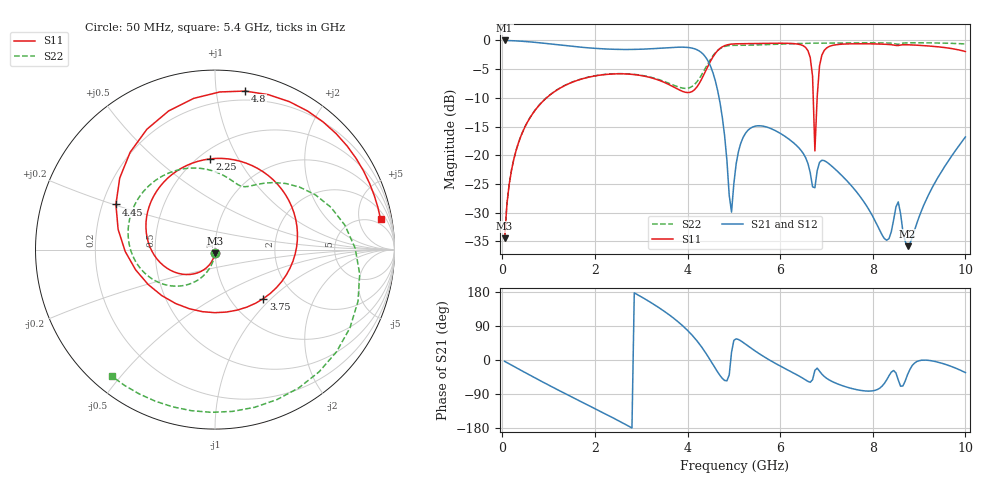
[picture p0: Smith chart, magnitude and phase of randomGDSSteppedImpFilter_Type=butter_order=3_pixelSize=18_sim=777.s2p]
! freq	dB(S11)	phase(S11)	dB(S12)	phase(S12)
!  dB(S21)	phase(S21)	dB(S22)	phase(S22)
!S-par simulation data
#  GHz  S  DB  R 50
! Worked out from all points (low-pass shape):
!   200 points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, 50 MHz to 10 GHz, reference 50 ohm
!   highest |S21| = -0.01 dB at 50 MHz (marker M1); lowest = -35.8 dB at 8.75 GHz (marker M2)
!   |S21| within 3 dB of the highest: start of sweep to 4.399 GHz
!   lowest |S11| = -34.5 dB at 50 MHz (marker M3), VSWR 1.04, Z = 49.8 - j1.88 ohm
!   |S11| at or under -10 dB: start of sweep to 955.6 MHz; 6.715 GHz to 6.799 GHz (84.33 MHz wide, 1.25 % of centre)
!   |S22| runs from -34.5 to -0.4 dB; largest |S21 - S12| = 0
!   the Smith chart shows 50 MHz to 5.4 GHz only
!   S11 on the Smith chart (normalised r, x): 50 MHz: 1.00, -0.04; 2.25 GHz: 0.57, +0.77; 3.75 GHz: 1.40, -0.90; 4.45 GHz: 0.26, +0.20; 4.8 GHz: 0.13, +1.20; 5.4 GHz: 3, +10
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0.05  -34.47 -93.7  -0.01 -3.4  -0.01 -3.4  -34.46 -92.2
0.2  -22.54 -106.7  -0.05 -13.6  -0.05 -13.6  -22.52 -101.0
0.5  -14.89 -131.2  -0.19 -33.6  -0.19 -33.6  -14.87 -117.1
1.75  -6.64 131.5  -1.22 -112.9  -1.22 -112.9  -6.61 -178.5
2.25  -5.92 93.4  -1.50 -143.9  -1.50 -143.9  -5.89 158.0
3.4  -6.99 -3.2  -1.36 136.7  -1.36 136.7  -6.87 97.5
3.75  -8.32 -45.3  -1.19 105.5  -1.19 105.5  -7.96 77.9
4.15  -8.59 -126.1  -1.46 58.4  -1.46 58.4  -7.68 59.8
4.45  -4.34 155.5  -3.69 7.7  -3.69 7.7  -3.92 28.7
4.8  -0.92 79.2  -16.56 -54.0  -16.56 -54.0  -1.06 -40.1
4.95  -0.64 56.2  -29.89 20.3  -29.89 20.3  -0.87 -67.6
5.05  -0.59 43.7  -21.49 55.8  -21.49 55.8  -0.85 -83.8
5.4  -0.56 10.4  -15.10 28.8  -15.10 28.8  -0.82 -129.3
6.45  -0.77 -64.9  -19.14 -45.2  -19.14 -45.2  -0.53 147.8
6.7  -6.22 -122.0  -25.50 -52.0  -25.50 -52.0  -0.48 133.5
6.75  -19.23 -165.7  -25.65 -27.2  -25.65 -27.2  -0.48 130.7
6.9  -2.59 -26.3  -20.87 -37.2  -20.87 -37.2  -0.48 122.7
7.35  -0.65 -71.7  -23.68 -68.1  -23.68 -68.1  -0.44 100.5
8.35  -0.71 -116.0  -34.52 -41.7  -34.52 -41.7  -0.45 55.9
8.55  -0.89 -123.1  -28.12 -52.5  -28.12 -52.5  -0.67 48.8
8.75  -0.76 -131.7  -35.83 -38.8  -35.83 -38.8  -0.42 40.9
10  -1.94 154.7  -16.82 -33.2  -16.82 -33.2  -0.62 -6.7
